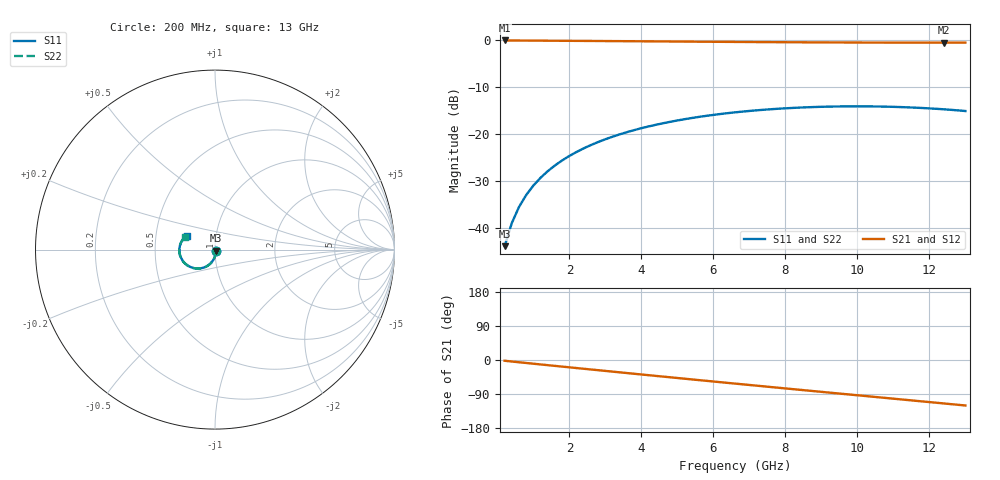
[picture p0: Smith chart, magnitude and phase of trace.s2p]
! Touchstone file from project copper trace 20x11um with L=4000um
! Exported from HFSS 3D Layout Design 2022.2.2 / 2024-05-07
!  o-----------------------o
!  |  Prepreg 970 LF  |  permittivity=3.4
!  |  |  loss_tangent=0.003
!  |  o-----o  |
!  |  |/////| 11um  |
!  |  o-----o  |
!  |  | 22um  |
!  |  v  |
!  o-----------------------o
# GHz S MA R 50.000000
! Terminal data exported
! Port[1] = Port_1
! Port[2] = Port_2
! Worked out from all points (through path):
!   65 points, 200 MHz to 13 GHz, reference 50 ohm
!   highest |S21| = -0.04 dB at 200 MHz (marker M1); lowest = -0.5 dB at 12.4 GHz (marker M2)
!   group delay of S21, straight-line fit = 25.5 ps
!   lowest |S11| = -43.8 dB at 200 MHz (marker M3), VSWR 1.01, Z = 50.4 - j0.516 ohm
!   |S11| at or under -10 dB: start of sweep to end of sweep
!   |S22| runs from -43.8 to -14.0 dB; largest |S21 - S12| = 0
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0.2  0.006468 -52.3  0.9957 -2.0  0.9957 -2.0  0.006469 -52.3
0.4  0.01138 -69.1  0.9951 -4.0  0.9951 -4.0  0.01142 -69.1
0.6  0.01689 -76.8  0.9941 -5.9  0.9941 -5.9  0.01694 -77.0
0.8  0.02265 -81.9  0.993 -7.9  0.993 -7.9  0.02269 -82.0
1  0.02856 -85.7  0.9919 -9.8  0.9919 -9.8  0.02858 -85.8
1.2  0.03456 -89.0  0.9908 -11.7  0.9908 -11.7  0.03458 -89.0
1.6  0.04673 -94.5  0.9887 -15.6  0.9887 -15.6  0.04675 -94.5
2  0.05894 -99.5  0.9866 -19.4  0.9866 -19.4  0.05897 -99.4
2.4  0.07103 -104.2  0.9846 -23.1  0.9846 -23.1  0.07108 -104.1
2.8  0.08288 -108.7  0.9824 -26.9  0.9824 -26.9  0.08295 -108.6
3.4  0.1 -115.2  0.979 -32.6  0.979 -32.6  0.1001 -115.0
4  0.1161 -121.4  0.9756 -38.2  0.9756 -38.2  0.1163 -121.2
4.6  0.1311 -127.5  0.9721 -43.8  0.9721 -43.8  0.1313 -127.2
5.6  0.1532 -137.4  0.9662 -53.1  0.9662 -53.1  0.1535 -137.0
6.6  0.1713 -147.0  0.9606 -62.2  0.9606 -62.2  0.1716 -146.5
7.8  0.1871 -158.3  0.9545 -73.2  0.9545 -73.2  0.1876 -157.6
8.8  0.1951 -167.6  0.9504 -82.2  0.9504 -82.2  0.1958 -166.6
9.8  0.1984 -176.8  0.9472 -91.3  0.9472 -91.3  0.1992 -175.5
11  0.196 172.2  0.9448 -102.1  0.9448 -102.1  0.1971 174.0
11.6  0.1922 166.7  0.9442 -107.5  0.9442 -107.5  0.1935 168.8
12.4  0.1846 159.3  0.9439 -114.7  0.9439 -114.7  0.1861 162.0
13  0.1769 153.8  0.9441 -120.1  0.9441 -120.1  0.1786 157.0
